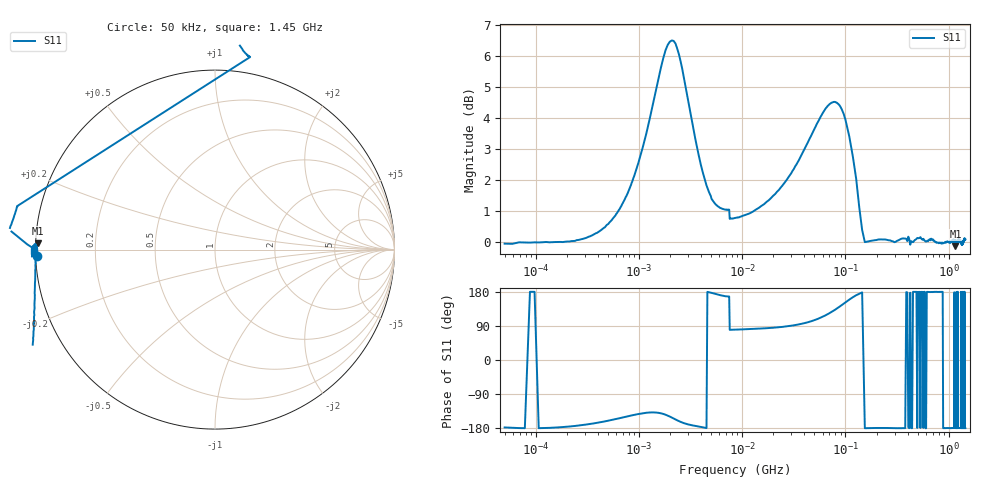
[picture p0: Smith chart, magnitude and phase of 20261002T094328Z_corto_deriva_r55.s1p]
! piloto_deriva / corto_deriva / r55
# HZ S RI R 50
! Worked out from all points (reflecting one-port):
!   501 points, 50 kHz to 1.45 GHz, reference 50 ohm
!   lowest |S11| = -0.1 dB at 1.162 GHz (marker M1), VSWR 137.67, Z = 0.363 + j0.863 ohm
!   phase of S11 starts at -178 deg and turns -2 deg over the sweep
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50000  -0.9942 -0.0357
183000  -0.9994 -0.0522
363500  -1.004 -0.2249
658000  -1.014 -0.5115
1180000  -1.135 -0.9776
1630000  -1.476 -1.211
1990000  -1.808 -1.075
2170000  -1.903 -0.9103
2440000  -1.902 -0.6407
3070000  -1.632 -0.2691
4330000  -1.263 -0.0316
7300000  -1.101 0.2421
7750000  0.1939 1.075
8560000  0.1867 1.078
1.99e7  0.1009 1.183
3.16e7  -0.0347 1.312
4.78e7  -0.343 1.458
6.76e7  -0.8607 1.418
7.93e7  -1.139 1.238
9.46e7  -1.361 0.8767
9.82e7  -1.384 0.7825
1e8  -1.392 0.7375
1.18e8  -1.331 0.3383
1.36e8  -1.134 0.1006
1.63e8  -1.002 -0.00385
4.06e8  -1.02 -0.039
1.162e9  -0.985 0.034
1.45e9  -1.011 -0.00657
